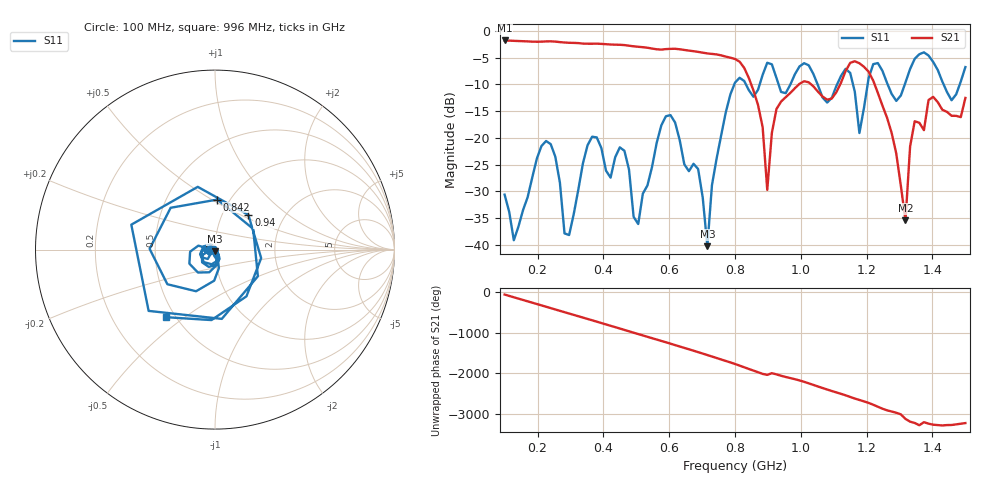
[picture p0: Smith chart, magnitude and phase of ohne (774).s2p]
! NanoVNA-App
! Date: 2025-09-25 14:26:49
! Start: 100MHz Stop: 1,5GHz Points: 101
! S-Parameter data: F S11 S21 S12 S22
# Hz S RI R 50
!  Frequency  S11_Real  S11_Imag  S21_Real  S21_Imag  S12_Real  S12_Imag  S22_Real  S22_Imag
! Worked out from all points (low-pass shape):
!   101 points, 100 MHz to 1.5 GHz, reference 50 ohm
!   highest |S21| = -1.79 dB at 100 MHz (marker M1); lowest = -35.5 dB at 1.318 GHz (marker M2)
!   |S21| within 3 dB of the highest: start of sweep to 770.7 MHz
!   lowest |S11| = -40.3 dB at 716 MHz (marker M3), VSWR 1.02, Z = 49.8 - j0.95 ohm
!   |S11| at or under -10 dB: start of sweep to 798 MHz; 833.1 MHz to 875.1 MHz (42.02 MHz wide, 4.92 % of centre); 1.051 GHz to 1.11 GHz (59.44 MHz wide, 5.5 % of centre) (the widest 3 of 7)
!   S12 and S22 are empty: the file has one direction only
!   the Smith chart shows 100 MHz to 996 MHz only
!   S11 on the Smith chart (normalised r, x): 100 MHz: 0.94, -0.01; 842 MHz: 0.88, +0.53; 940 MHz: 1.33, +0.55; 996 MHz: 0.44, -0.43
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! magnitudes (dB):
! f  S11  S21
! 100 MHz  -30.6  -1.8
! 128 MHz  -39.2  -1.9
! 226 MHz  -20.6  -2.0
! 296 MHz  -38.2  -2.2
! 338 MHz  -24.8  -2.4
! 464 MHz  -22.4  -2.7
! 506 MHz  -36.1  -3.0
! 576 MHz  -17.7  -3.5
! 688 MHz  -25.8  -3.9
! 716 MHz  -40.3  -4.2
! 800 MHz  -9.7  -5.3
! 842 MHz  -11.1  -8.8
! 898 MHz  -6.0  -29.7
! 940 MHz  -11.4  -13.2
! 996 MHz  -6.7  -9.9
! 1.038 GHz  -8.0  -10.4
! 1.178 GHz  -19.1  -6.1
! 1.22 GHz  -6.2  -9.3
! 1.276 GHz  -11.8  -19.1
! 1.318 GHz  -9.6  -35.5
! 1.346 GHz  -5.2  -16.9
! 1.5 GHz  -6.8  -12.5
